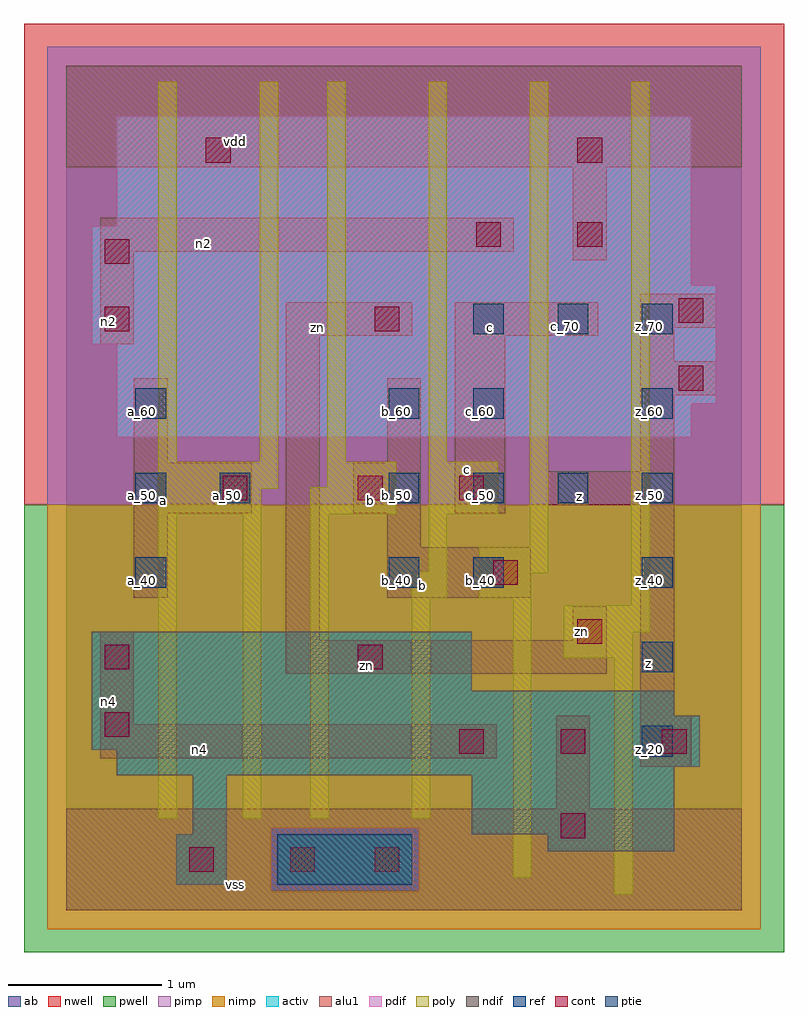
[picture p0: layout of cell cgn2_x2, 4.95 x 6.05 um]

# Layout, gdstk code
import gdstk
lib = gdstk.Library(unit=1e-6, precision=2.5e-09)
def R(c, l, rs):  # rectangles x0, y0, x1, y1
    for r in rs: c.add(gdstk.rectangle(r[:2], r[2:], *l))
def A(c, l, x, y, w, h, nx, ny, dx, dy):  # array of equal rectangles
    R(c, l, [(x+i*dx, y+j*dy, x+i*dx+w, y+j*dy+h) for i in range(nx) for j in range(ny)])
ndif = (3, 0)
pdif = (4, 0)
ptie = (6, 0)
ref = (24, 0)
cont = (25, 0)
pwell = (41, 0)
nwell = (42, 0)
activ = (43, 0)
pimp = (44, 0)
nimp = (45, 0)
poly = (46, 0)
alu1 = (49, 0)
ab = (63, 0)

cgn2_x2 = lib.new_cell('cgn2_x2')
R(cgn2_x2, ndif, [(0.715,0.165,1.045,0.495), (3.135,0.385,3.96,0.495), (0.825,0.495,1.045,0.88), (2.64,0.495,3.96,0.88), (0.33,0.88,3.96,0.935), (0.33,0.935,4.125,1.045), (0.165,1.045,4.125,1.265), (0.165,1.265,3.96,1.43), (0.165,1.43,2.64,1.815)])
R(cgn2_x2, pdif, [(0.33,3.08,4.07,3.3), (0.33,3.3,4.235,3.685), (0.165,3.685,4.235,4.07), (0.165,4.07,4.07,4.455), (0.33,4.455,4.07,5.17)])
R(cgn2_x2, ptie, [(1.375,0.165,2.255,0.495)])
A(cgn2_x2, ref, 3.75, 1, 0.2, 0.2, 1, 3, 0, 0.55)
A(cgn2_x2, ref, 0.45, 2.1, 0.2, 0.2, 1, 3, 0, 0.55)
A(cgn2_x2, ref, 2.1, 2.65, 0.2, 0.2, 4, 1, 0.55, 0)
A(cgn2_x2, ref, 2.65, 3.75, 0.2, 0.2, 3, 1, 0.55, 0)
R(cgn2_x2, ref, [(2.1,2.1,2.3,2.3), (2.65,2.1,2.85,2.3), (1,2.65,1.2,2.85), (2.1,3.2,2.3,3.4), (2.65,3.2,2.85,3.4), (3.75,3.2,3.95,3.4)])
A(cgn2_x2, cont, 2.56, 1.02, 0.16, 0.16, 3, 1, 0.66, 0)
R(cgn2_x2, cont, [(0.8,0.25,0.96,0.41), (1.46,0.25,1.62,0.41), (2.01,0.25,2.17,0.41), (3.22,0.47,3.38,0.63), (0.25,1.13,0.41,1.29), (0.25,1.57,0.41,1.73), (1.9,1.57,2.06,1.73), (3.33,1.735,3.49,1.895), (2.78,2.12,2.94,2.28), (1.02,2.67,1.18,2.83), (1.9,2.67,2.06,2.83), (2.56,2.67,2.72,2.83), (3.99,3.385,4.15,3.545), (0.25,3.77,0.41,3.93), (2.01,3.77,2.17,3.93), (3.99,3.825,4.15,3.985), (0.25,4.21,0.41,4.37), (2.67,4.32,2.83,4.48), (3.33,4.32,3.49,4.48), (0.91,4.87,1.07,5.03), (3.33,4.87,3.49,5.03)])
R(cgn2_x2, pwell, [(-0.275,-0.275,4.675,2.64)])
R(cgn2_x2, nwell, [(-0.275,2.64,4.675,5.775)])
R(cgn2_x2, activ, [(0.715,0.165,1.045,0.495), (1.375,0.165,2.255,0.495), (3.135,0.385,3.96,0.495), (0.825,0.495,1.045,0.88), (2.64,0.495,3.96,0.88), (0.33,0.88,3.96,0.935), (0.33,0.935,4.125,1.045), (0.165,1.045,4.125,1.265), (0.165,1.265,3.96,1.43), (0.165,1.43,2.64,1.815), (0.33,3.08,4.07,3.3), (0.33,3.3,4.235,3.685), (0.165,3.685,4.235,4.07), (0.165,4.07,4.07,4.455), (0.33,4.455,4.07,5.17)])
R(cgn2_x2, pimp, [(1.335,0.125,2.295,0.535), (-0.125,2.64,4.525,5.625)])
R(cgn2_x2, nimp, [(-0.125,-0.125,4.525,0.125), (-0.125,0.125,1.335,0.535), (2.295,0.125,4.525,0.535), (-0.125,0.535,4.525,2.64)])
R(cgn2_x2, poly, [(3.57,0.105,3.69,1.645), (2.91,0.215,3.03,2.03), (0.6,0.6,0.72,2.58), (1.15,0.6,1.27,2.58), (1.59,0.6,1.71,2.58), (2.25,0.6,2.37,2.03), (3.24,1.645,3.69,1.81), (3.24,1.81,3.8,1.985), (3.68,1.985,3.8,5.395), (2.25,2.03,2.48,2.205), (2.69,2.03,3.03,2.195), (2.69,2.195,3.14,2.37), (2.36,2.205,2.48,2.58), (3.02,2.37,3.14,5.395), (0.6,2.58,1.27,2.745), (1.59,2.58,2.15,2.755), (2.36,2.58,2.81,2.92), (0.6,2.745,1.38,2.92), (1.7,2.755,2.15,2.92), (0.6,2.92,0.72,5.395), (1.26,2.92,1.38,5.395), (1.7,2.92,1.82,5.395), (2.36,2.92,2.48,5.395)])
R(cgn2_x2, alu1, [(0,0,4.4,0.66), (3.19,0.66,3.41,1.265), (3.74,0.935,4.07,1.265), (0.22,0.99,2.805,1.21), (0.22,1.21,0.44,1.815), (3.74,1.265,3.96,2.64), (1.43,1.54,3.52,1.76), (1.43,1.76,1.65,3.74), (3.3,1.76,3.52,1.98), (0.44,2.035,0.66,2.585), (2.09,2.035,3.025,2.365), (2.09,2.365,2.31,2.585), (0.44,2.585,1.21,2.915), (1.87,2.585,2.31,2.915), (2.53,2.585,2.86,3.74), (3.135,2.64,3.96,2.86), (3.74,2.86,3.96,3.355), (0.44,2.915,0.66,3.465), (2.09,2.915,2.31,3.465), (3.74,3.355,4.235,3.575), (3.74,3.575,3.96,3.795), (0.22,3.685,0.44,4.29), (1.43,3.74,2.255,3.96), (2.53,3.74,3.465,3.96), (3.74,3.795,4.235,4.015), (3.3,4.235,3.52,4.84), (0.22,4.29,2.915,4.51), (0,4.84,4.4,5.5)])
R(cgn2_x2, ab, [(0,0,4.4,5.5)])
cgn2_x2.add(gdstk.Label('vss', (1.1,0.165), layer=49, texttype=0))
cgn2_x2.add(gdstk.Label('n4', (0.865,1.045), layer=49, texttype=0))
cgn2_x2.add(gdstk.Label('z', (3.795,1.6075), layer=49, texttype=0))
cgn2_x2.add(gdstk.Label('zn', (1.9525,1.595), layer=49, texttype=0))
cgn2_x2.add(gdstk.Label('zn', (3.355,1.815), layer=49, texttype=0))
cgn2_x2.add(gdstk.Label('b', (2.3225,2.1175), layer=49, texttype=0))
cgn2_x2.add(gdstk.Label('z', (3.34,2.695), layer=49, texttype=0))
cgn2_x2.add(gdstk.Label('c', (2.6125,2.8725), layer=49, texttype=0))
cgn2_x2.add(gdstk.Label('b', (1.98,2.6675), layer=49, texttype=0))
cgn2_x2.add(gdstk.Label('n4', (0.275,1.36), layer=49, texttype=0))
cgn2_x2.add(gdstk.Label('a', (0.6325,2.6675), layer=49, texttype=0))
cgn2_x2.add(gdstk.Label('c', (2.7625,3.795), layer=49, texttype=0))
cgn2_x2.add(gdstk.Label('zn', (1.635,3.795), layer=49, texttype=0))
cgn2_x2.add(gdstk.Label('n2', (0.275,3.835), layer=49, texttype=0))
cgn2_x2.add(gdstk.Label('n2', (0.8925,4.345), layer=49, texttype=0))
cgn2_x2.add(gdstk.Label('vdd', (1.1,5.005), layer=49, texttype=0))
cgn2_x2.add(gdstk.Label('z_50', (3.25,2.7), layer=24, texttype=0))
cgn2_x2.add(gdstk.Label('z_20', (3.8,1.05), layer=24, texttype=0))
cgn2_x2.add(gdstk.Label('z_70', (3.8,3.8), layer=24, texttype=0))
cgn2_x2.add(gdstk.Label('b_60', (2.15,3.25), layer=24, texttype=0))
cgn2_x2.add(gdstk.Label('z_30', (3.8,1.6), layer=24, texttype=0))
cgn2_x2.add(gdstk.Label('z_60', (3.8,3.25), layer=24, texttype=0))
cgn2_x2.add(gdstk.Label('z_50', (3.8,2.7), layer=24, texttype=0))
cgn2_x2.add(gdstk.Label('z_40', (3.8,2.15), layer=24, texttype=0))
cgn2_x2.add(gdstk.Label('b_40', (2.7,2.15), layer=24, texttype=0))
cgn2_x2.add(gdstk.Label('c_70', (3.25,3.8), layer=24, texttype=0))
cgn2_x2.add(gdstk.Label('c_70', (2.7,3.8), layer=24, texttype=0))
cgn2_x2.add(gdstk.Label('c_60', (2.7,3.25), layer=24, texttype=0))
cgn2_x2.add(gdstk.Label('c_50', (2.7,2.7), layer=24, texttype=0))
cgn2_x2.add(gdstk.Label('b_40', (2.15,2.15), layer=24, texttype=0))
cgn2_x2.add(gdstk.Label('a_50', (1.05,2.7), layer=24, texttype=0))
cgn2_x2.add(gdstk.Label('a_40', (0.5,2.15), layer=24, texttype=0))
cgn2_x2.add(gdstk.Label('a_50', (0.5,2.7), layer=24, texttype=0))
cgn2_x2.add(gdstk.Label('a_60', (0.5,3.25), layer=24, texttype=0))
cgn2_x2.add(gdstk.Label('b_50', (2.15,2.7), layer=24, texttype=0))

lib.write_gds('cgn2_x2.gds')
